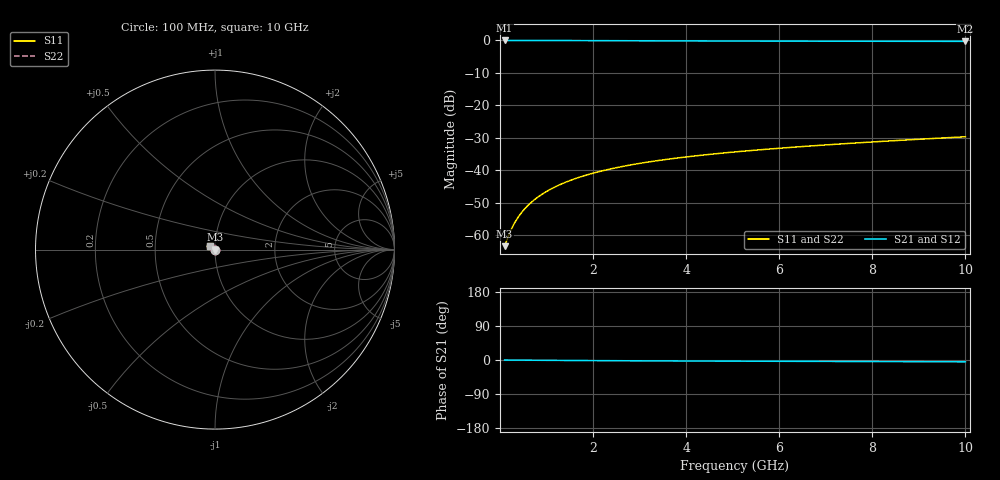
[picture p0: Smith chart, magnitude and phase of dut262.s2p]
! Touchstone file exported from HFSS 2024.1.0
!  File:  C:/UserFiles/LocalFiles/RDL_TSV_Batchsim/temp_TSV1_262_1779391570.aedt
!  Generated:  03:33:08 AM May 22, 2026
!  Design:  TSV1
!  Project:  temp_TSV1_262_1779391570
!  Setup:  Setup1
!  Solution:  Sweep
! Variables:
!  dtsv = 5.09um
!  hbump = 3um
!  htsv = 69.68um
!  lrdl = 252.1521522um
!  p = 40
!  p1 = 44.39um
!  t = 500um
!  trdl = 3um
!  wrdl = 24.89489489um
# GHz S MA R 50.000000
! Terminal data exported
! Port[1] = TSV22_T1
! Port[2] = TSV22_T2
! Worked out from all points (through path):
!   100 points, 100 MHz to 10 GHz, reference 50 ohm
!   highest |S21| = 0.00 dB at 100 MHz (marker M1); lowest = -0.3 dB at 10 GHz (marker M2)
!   lowest |S11| = -63.4 dB at 100 MHz (marker M3), VSWR 1.00, Z = 50 - j0.0484 ohm
!   |S11| at or under -10 dB: start of sweep to end of sweep
!   |S22| runs from -63.4 to -29.7 dB; largest |S21 - S12| = 6.2e-15
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0.1  0.0006739 -45.8  0.9995 -0.1  0.9995 -0.1  0.0006739 -45.8
! Gamma 0 0 0 0
! Port Impedance 50 0 50 0
0.2  0.00105 -67.1  0.9994 -0.2  0.9994 -0.2  0.00105 -67.1
0.3  0.001481 -77.9  0.9993 -0.3  0.9993 -0.3  0.001481 -77.9
0.4  0.001933 -84.7  0.9992 -0.3  0.9992 -0.3  0.001933 -84.7
0.5  0.002393 -89.8  0.999 -0.4  0.999 -0.4  0.002393 -89.8
0.6  0.002856 -93.8  0.9988 -0.5  0.9988 -0.5  0.002856 -93.8
0.7  0.003319 -97.3  0.9985 -0.6  0.9985 -0.6  0.003319 -97.3
0.8  0.003781 -100.4  0.9983 -0.7  0.9983 -0.7  0.003781 -100.4
0.9  0.004239 -103.3  0.998 -0.8  0.998 -0.8  0.004239 -103.3
1  0.004694 -106.0  0.9976 -0.8  0.9976 -0.8  0.004694 -106.0
1.2  0.005593 -111.0  0.9969 -1.0  0.9969 -1.0  0.005593 -111.0
1.5  0.006904 -118.0  0.9957 -1.2  0.9957 -1.2  0.006904 -118.0
1.8  0.008167 -124.4  0.9943 -1.4  0.9943 -1.4  0.008167 -124.4
2.1  0.00938 -130.5  0.9928 -1.6  0.9928 -1.6  0.00938 -130.5
2.5  0.01092 -138.0  0.9907 -1.9  0.9907 -1.9  0.01092 -138.0
2.9  0.01237 -145.0  0.9886 -2.1  0.9886 -2.1  0.01237 -145.0
3.4  0.01408 -153.1  0.9861 -2.4  0.9861 -2.4  0.01408 -153.1
4.2  0.01661 -164.6  0.9824 -2.7  0.9824 -2.7  0.01661 -164.6
5.1  0.01925 -175.7  0.9788 -3.1  0.9788 -3.1  0.01925 -175.7
6.7  0.02369 168.5  0.9741 -3.6  0.9741 -3.6  0.02369 168.5
8.4  0.02832 155.8  0.9705 -4.2  0.9705 -4.2  0.02832 155.8
10  0.03273 146.5  0.9681 -4.8  0.9681 -4.8  0.03273 146.5
